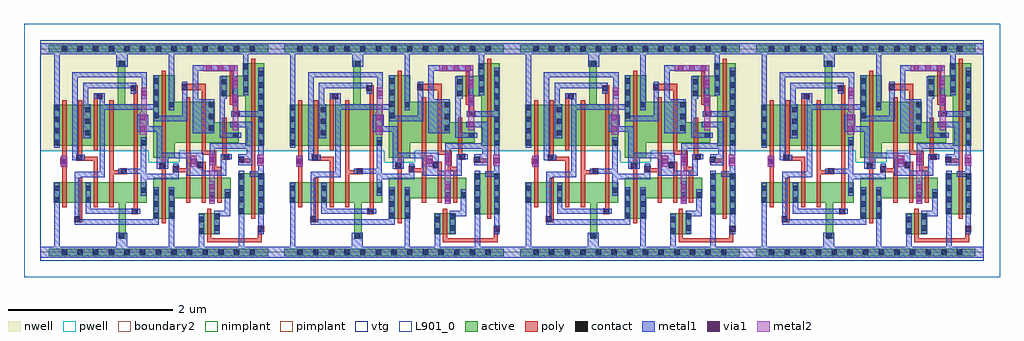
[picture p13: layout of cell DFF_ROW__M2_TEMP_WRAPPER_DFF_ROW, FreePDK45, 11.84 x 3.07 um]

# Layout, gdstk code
import gdstk
lib = gdstk.Library(unit=1e-6, precision=1e-09)
def R(c, l, rs):  # rectangles x0, y0, x1, y1
    for r in rs: c.add(gdstk.rectangle(r[:2], r[2:], *l))
def A(c, l, x, y, w, h, nx, ny, dx, dy):  # array of equal rectangles
    R(c, l, [(x+i*dx, y+j*dy, x+i*dx+w, y+j*dy+h) for i in range(nx) for j in range(ny)])
def P(c, l, *ps):  # polygons
    for p in ps: c.add(gdstk.Polygon(p, *l))
active = (1, 0)
pwell = (2, 0)
nwell = (3, 0)
nimplant = (4, 0)
pimplant = (5, 0)
vtg = (6, 0)
poly = (9, 0)
contact = (10, 0)
metal1 = (11, 0)
via1 = (12, 0)
metal2 = (13, 0)
boundary2 = (239, 0)
L901_0 = (901, 0)

dff_row__dff_row__dff = lib.new_cell('DFF_ROW__DFF_ROW__dff')
A(dff_row__dff_row__dff, active, 0.267, 0.6, 0.05, 0.25, 4, 1, 0.19, 0)
A(dff_row__dff_row__dff, active, 0.317, 0.6, 0.14, 0.25, 3, 1, 0.19, 0)
A(dff_row__dff_row__dff, active, 1.767, 0.657, 0.05, 0.25, 3, 1, 0.19, 0)
A(dff_row__dff_row__dff, active, 0.267, 1.292, 0.05, 0.5, 4, 1, 0.19, 0)
A(dff_row__dff_row__dff, active, 0.317, 1.292, 0.14, 0.5, 3, 1, 0.19, 0)
R(dff_row__dff_row__dff, active, [(0.1,-0.045,2.76,0.045), (1.917,0.222,2.022,0.472), (2.022,0.222,2.072,0.472), (2.072,0.222,2.177,0.472), (1.367,0.407,1.472,0.907), (1.472,0.407,1.522,0.907), (2.402,0.462,2.557,0.962), (2.557,0.462,2.607,0.962), (2.607,0.462,2.712,0.962), (0.162,0.6,0.267,0.85), (1.132,0.6,1.182,0.85), (1.182,0.6,1.287,0.85), (1.817,0.657,1.957,0.907), (2.007,0.657,2.147,0.907), (2.197,0.657,2.307,0.907), (1.367,1.15,1.472,2.15), (1.472,1.15,1.522,2.15), (0.162,1.292,0.267,1.792), (1.132,1.292,1.182,1.792), (1.182,1.292,1.287,1.792), (2.557,1.292,2.607,2.292), (2.607,1.292,2.712,2.292), (1.767,1.327,1.817,1.827), (1.817,1.327,1.957,1.827), (1.957,1.327,2.007,1.827), (2.207,1.327,2.257,1.577), (2.257,1.327,2.407,1.577), (2.192,1.892,2.297,2.142), (2.297,1.892,2.347,2.142), (0.1,2.425,2.76,2.515)])
P(dff_row__dff_row__dff, active, [(0.887,1.292),(0.887,1.792),(0.937,1.792),(0.937,2.322),(1.027,2.322),(1.027,1.792),(1.132,1.792),(1.132,1.292)],
  [(1.522,1.15),(1.522,2.15),(1.627,2.15),(1.627,1.827),(1.767,1.827),(1.767,1.327),(1.627,1.327),(1.627,1.15)],
  [(2.007,1.327),(2.007,1.827),(2.112,1.827),(2.112,1.577),(2.207,1.577),(2.207,1.327)],
  [(2.487,1.292),(2.487,1.892),(2.347,1.892),(2.347,2.142),(2.452,2.142),(2.452,2.292),(2.557,2.292),(2.557,1.292)],
  [(0.947,0.165),(0.947,0.6),(0.887,0.6),(0.887,0.85),(1.132,0.85),(1.132,0.6),(1.037,0.6),(1.037,0.165)],
  [(1.522,0.407),(1.522,0.907),(1.767,0.907),(1.767,0.657),(1.627,0.657),(1.627,0.407)])
P(dff_row__dff_row__dff, pwell, [(0,-0.1),(0,1.235),(1.312,1.235),(1.312,1.095),(1.682,1.095),(1.682,1.235),(2.86,1.235),(2.86,-0.1)])
P(dff_row__dff_row__dff, nwell, [(1.312,1.095),(1.312,1.235),(0,1.235),(0,2.57),(2.86,2.57),(2.86,1.235),(1.682,1.235),(1.682,1.095)])
A(dff_row__dff_row__dff, nimplant, 0.267, 0.6, 0.05, 0.25, 4, 1, 0.19, 0)
A(dff_row__dff_row__dff, nimplant, 0.317, 0.6, 0.14, 0.25, 3, 1, 0.19, 0)
A(dff_row__dff_row__dff, nimplant, 1.767, 0.657, 0.05, 0.25, 3, 1, 0.19, 0)
R(dff_row__dff_row__dff, nimplant, [(1.917,0.222,2.022,0.472), (2.022,0.222,2.072,0.472), (2.072,0.222,2.177,0.472), (1.367,0.407,1.472,0.907), (1.472,0.407,1.522,0.907), (2.402,0.462,2.557,0.962), (2.557,0.462,2.607,0.962), (2.607,0.462,2.712,0.962), (0.162,0.6,0.267,0.85), (1.132,0.6,1.182,0.85), (1.182,0.6,1.287,0.85), (1.817,0.657,1.957,0.907), (2.007,0.657,2.147,0.907), (2.197,0.657,2.307,0.907), (0.1,2.425,2.76,2.515)])
P(dff_row__dff_row__dff, nimplant, [(0.947,0.165),(0.947,0.6),(0.887,0.6),(0.887,0.85),(1.132,0.85),(1.132,0.6),(1.037,0.6),(1.037,0.165)],
  [(1.522,0.407),(1.522,0.907),(1.767,0.907),(1.767,0.657),(1.627,0.657),(1.627,0.407)])
A(dff_row__dff_row__dff, pimplant, 0.267, 1.292, 0.05, 0.5, 4, 1, 0.19, 0)
A(dff_row__dff_row__dff, pimplant, 0.317, 1.292, 0.14, 0.5, 3, 1, 0.19, 0)
R(dff_row__dff_row__dff, pimplant, [(0.1,-0.045,2.76,0.045), (1.367,1.15,1.472,2.15), (1.472,1.15,1.522,2.15), (0.162,1.292,0.267,1.792), (1.132,1.292,1.182,1.792), (1.182,1.292,1.287,1.792), (2.557,1.292,2.607,2.292), (2.607,1.292,2.712,2.292), (1.767,1.327,1.817,1.827), (1.817,1.327,1.957,1.827), (1.957,1.327,2.007,1.827), (2.207,1.327,2.257,1.577), (2.257,1.327,2.407,1.577), (2.192,1.892,2.297,2.142), (2.297,1.892,2.347,2.142)])
P(dff_row__dff_row__dff, pimplant, [(0.887,1.292),(0.887,1.792),(0.937,1.792),(0.937,2.322),(1.027,2.322),(1.027,1.792),(1.132,1.792),(1.132,1.292)],
  [(1.522,1.15),(1.522,2.15),(1.627,2.15),(1.627,1.827),(1.767,1.827),(1.767,1.327),(1.627,1.327),(1.627,1.15)],
  [(2.007,1.327),(2.007,1.827),(2.112,1.827),(2.112,1.577),(2.207,1.577),(2.207,1.327)],
  [(2.487,1.292),(2.487,1.892),(2.347,1.892),(2.347,2.142),(2.452,2.142),(2.452,2.292),(2.557,2.292),(2.557,1.292)])
R(dff_row__dff_row__dff, vtg, [(0,-0.1,2.86,2.57)])
A(dff_row__dff_row__dff, poly, 0.267, 0.6, 0.05, 0.25, 4, 1, 0.19, 0)
A(dff_row__dff_row__dff, poly, 1.767, 0.602, 0.05, 0.055, 3, 1, 0.19, 0)
A(dff_row__dff_row__dff, poly, 1.767, 0.657, 0.05, 0.25, 3, 1, 0.19, 0)
A(dff_row__dff_row__dff, poly, 0.267, 1.292, 0.05, 0.5, 4, 1, 0.19, 0)
R(dff_row__dff_row__dff, poly, [(2.022,0.222,2.072,0.472), (1.472,0.352,1.522,0.407), (1.472,0.407,1.522,0.907), (2.557,0.407,2.607,0.462), (2.557,0.462,2.607,0.962), (2.022,0.472,2.072,0.527), (0.267,0.545,0.317,0.6), (0.647,0.545,0.697,0.6), (0.837,0.545,0.887,0.6), (1.132,0.6,1.182,0.85), (0.457,0.85,0.507,0.905), (1.132,0.85,1.182,1.292), (1.472,1.15,1.522,2.15), (0.647,1.237,0.697,1.292), (1.132,1.292,1.182,1.792), (2.557,1.292,2.607,2.292), (1.767,1.327,1.817,1.827), (1.957,1.327,2.007,1.827), (2.207,1.327,2.257,1.577), (2.207,1.577,2.257,1.632), (0.267,1.792,0.317,1.847), (0.457,1.792,0.507,1.847), (0.837,1.792,0.887,1.847), (1.767,1.827,1.817,1.882), (2.297,1.892,2.347,2.142), (2.297,2.142,2.347,2.197), (1.472,2.15,1.522,2.205), (2.557,2.292,2.607,2.347)])
P(dff_row__dff_row__dff, poly, [(0.267,0.85),(0.267,1.067),(0.242,1.067),(0.242,1.142),(0.267,1.142),(0.267,1.292),(0.317,1.292),(0.317,0.85)],
  [(0.412,0.365),(0.412,0.44),(0.457,0.44),(0.457,0.6),(0.507,0.6),(0.507,0.365)],
  [(0.647,1.792),(0.647,1.932),(0.752,1.932),(0.752,1.857),(0.697,1.857),(0.697,1.792)],
  [(0.647,0.85),(0.647,1.112),(0.432,1.112),(0.432,1.187),(0.457,1.187),(0.457,1.292),(0.507,1.292),(0.507,1.162),(0.697,1.162),(0.697,0.85)],
  [(0.837,0.85),(0.837,1.292),(0.887,1.292),(0.887,0.995),(0.972,0.995),(0.972,1.02),(1.047,1.02),(1.047,0.945),(0.887,0.945),(0.887,0.85)],
  [(1.132,1.792),(1.132,1.952),(1.092,1.952),(1.092,2.027),(1.182,2.027),(1.182,1.792)],
  [(1.107,0.46),(1.107,0.535),(1.132,0.535),(1.132,0.6),(1.182,0.6),(1.182,0.46)],
  [(1.472,0.907),(1.472,1.01),(1.442,1.01),(1.442,1.085),(1.472,1.085),(1.472,1.15),(1.522,1.15),(1.522,0.907)],
  [(1.767,0.907),(1.767,0.972),(1.607,0.972),(1.607,1.047),(1.682,1.047),(1.682,1.022),(1.767,1.022),(1.767,1.327),(1.817,1.327),(1.817,0.907)],
  [(1.957,1.827),(1.957,1.967),(1.712,1.967),(1.712,2.042),(2.007,2.042),(2.007,1.827)],
  [(1.957,0.907),(1.957,1.022),(1.902,1.022),(1.902,1.097),(2.007,1.097),(2.007,0.907)],
  [(2.342,1.642),(2.342,1.792),(2.297,1.792),(2.297,1.892),(2.347,1.892),(2.347,1.842),(2.392,1.842),(2.392,1.717),(2.417,1.717),(2.417,1.642)],
  [(2.207,1.122),(2.207,1.327),(2.257,1.327),(2.257,1.197),(2.292,1.197),(2.292,1.122)],
  [(2.022,0.122),(2.022,0.222),(2.072,0.222),(2.072,0.172),(2.637,0.172),(2.637,0.322),(2.712,0.322),(2.712,0.247),(2.687,0.247),(2.687,0.122)],
  [(2.147,0.907),(2.147,0.987),(2.082,0.987),(2.082,1.182),(1.957,1.182),(1.957,1.327),(2.007,1.327),(2.007,1.232),(2.132,1.232),(2.132,1.037),(2.197,1.037),(2.197,0.907)],
  [(2.557,0.962),(2.557,1.087),(2.397,1.087),(2.397,1.162),(2.472,1.162),(2.472,1.137),(2.557,1.137),(2.557,1.292),(2.607,1.292),(2.607,0.962)])
A(dff_row__dff_row__dff, contact, 0.257, -0.032, 0.065, 0.064, 13, 1, 0.19, 0)
A(dff_row__dff_row__dff, contact, 1.372, 0.412, 0.065, 0.065, 1, 3, 0, 0.14)
A(dff_row__dff_row__dff, contact, 1.557, 0.412, 0.065, 0.065, 1, 3, 0, 0.14)
A(dff_row__dff_row__dff, contact, 2.407, 0.467, 0.065, 0.065, 1, 4, 0, 0.14)
A(dff_row__dff_row__dff, contact, 2.642, 0.467, 0.065, 0.065, 1, 4, 0, 0.14)
A(dff_row__dff_row__dff, contact, 2.642, 1.297, 0.065, 0.065, 1, 7, 0, 0.14)
A(dff_row__dff_row__dff, contact, 0.167, 1.302, 0.065, 0.065, 1, 4, 0, 0.14)
A(dff_row__dff_row__dff, contact, 0.542, 1.417, 0.065, 0.065, 1, 3, 0, 0.14)
A(dff_row__dff_row__dff, contact, 2.042, 1.477, 0.065, 0.065, 1, 3, 0, 0.14)
A(dff_row__dff_row__dff, contact, 1.372, 1.627, 0.065, 0.065, 1, 4, 0, 0.14)
A(dff_row__dff_row__dff, contact, 2.457, 1.942, 0.065, 0.065, 1, 3, 0, 0.14)
A(dff_row__dff_row__dff, contact, 0.257, 2.437, 0.065, 0.065, 13, 1, 0.19, 0)
R(dff_row__dff_row__dff, contact, [(0.952,0.17,1.017,0.235), (1.922,0.227,1.987,0.292), (2.642,0.252,2.707,0.317), (2.107,0.262,2.172,0.327), (1.922,0.367,1.987,0.432), (0.417,0.37,0.482,0.435), (2.107,0.402,2.172,0.467), (1.112,0.465,1.177,0.53), (0.167,0.605,0.232,0.67), (0.547,0.605,0.612,0.67), (2.047,0.662,2.112,0.727), (2.237,0.662,2.302,0.727), (1.217,0.72,1.282,0.785), (0.167,0.745,0.232,0.81), (0.547,0.745,0.612,0.81), (0.977,0.95,1.042,1.015), (1.612,0.977,1.677,1.042), (1.447,1.015,1.512,1.08), (1.907,1.027,1.972,1.092), (0.247,1.072,0.312,1.137), (2.402,1.092,2.467,1.157), (0.437,1.117,0.502,1.182), (2.222,1.127,2.287,1.192), (1.217,1.297,1.282,1.362), (2.337,1.387,2.402,1.452), (2.347,1.647,2.412,1.712), (1.557,1.757,1.622,1.822), (0.682,1.862,0.747,1.927), (2.197,1.897,2.262,1.962), (1.097,1.957,1.162,2.022), (1.717,1.972,1.782,2.037), (2.197,2.037,2.262,2.102), (0.957,2.252,1.022,2.317)])
R(dff_row__dff_row__dff, metal1, [(0,-0.065,2.86,0.065), (2.047,0.587,2.112,0.862), (2.642,0.915,2.707,1.127), (1.777,0.927,1.972,1.207), (0.245,1.037,0.322,1.172), (2.632,1.047,2.71,1.182), (2.327,1.777,2.392,2.127), (0,2.405,2.76,2.535)])
P(dff_row__dff_row__dff, metal1, [(0.167,1.267),(0.167,2.405),(0.1,2.405),(0.1,2.535),(2.86,2.535),(2.86,2.405),(2.522,2.405),(2.522,1.907),(2.457,1.907),(2.457,2.405),(1.622,2.405),(1.622,1.722),(1.557,1.722),(1.557,2.405),(1.057,2.405),(1.057,2.252),(0.922,2.252),(0.922,2.405),(0.232,2.405),(0.232,1.267)],
  [(0.1,-0.065),(0.1,0.065),(0.167,0.065),(0.167,0.845),(0.232,0.845),(0.232,0.065),(0.917,0.065),(0.917,0.235),(1.052,0.235),(1.052,0.065),(1.557,0.065),(1.557,0.792),(1.622,0.792),(1.622,0.065),(1.922,0.065),(1.922,0.467),(1.987,0.467),(1.987,0.065),(2.407,0.065),(2.407,0.987),(2.472,0.987),(2.472,0.065),(2.76,0.065),(2.76,-0.065)],
  [(0.417,0.335),(0.417,0.975),(0.717,0.975),(0.717,1.862),(0.647,1.862),(0.647,1.927),(0.782,1.927),(0.782,1.797),(1.372,1.797),(1.372,2.147),(1.437,2.147),(1.437,1.657),(1.717,1.657),(1.717,2.072),(1.782,2.072),(1.782,1.592),(1.372,1.592),(1.372,1.732),(0.782,1.732),(0.782,0.91),(0.482,0.91),(0.482,0.4),(1.372,0.4),(1.372,0.792),(1.437,0.792),(1.437,0.335)],
  [(1.777,0.927),(1.777,1.142),(1.547,1.142),(1.547,1.015),(1.412,1.015),(1.412,1.462),(1.172,1.462),(1.172,1.667),(1.307,1.667),(1.307,1.527),(1.477,1.527),(1.477,1.207),(1.972,1.207),(1.972,0.992),(2.187,0.992),(2.187,1.192),(2.322,1.192),(2.322,1.127),(2.252,1.127),(2.252,0.927)],
  [(0.387,1.117),(0.387,2.187),(1.292,2.187),(1.292,1.862),(1.227,1.862),(1.227,2.122),(0.452,2.122),(0.452,1.182),(0.537,1.182),(0.537,1.117)],
  [(0.517,1.382),(0.517,2.057),(1.162,2.057),(1.162,1.922),(1.097,1.922),(1.097,1.992),(0.582,1.992),(0.582,1.797),(0.607,1.797),(0.607,1.382)],
  [(0.547,0.465),(0.547,0.845),(0.612,0.845),(0.612,0.53),(1.212,0.53),(1.212,0.465)],
  [(1.217,0.685),(1.217,0.95),(0.942,0.95),(0.942,1.015),(1.217,1.015),(1.217,1.397),(1.282,1.397),(1.282,0.95),(1.612,0.95),(1.612,1.077),(1.677,1.077),(1.677,0.885),(1.282,0.885),(1.282,0.685)],
  [(1.847,1.442),(1.847,2.267),(2.392,2.267),(2.392,2.202),(1.912,2.202),(1.912,1.857),(2.107,1.857),(2.107,1.442)],
  [(2.052,1.057),(2.052,1.322),(2.502,1.322),(2.502,1.517),(2.302,1.517),(2.302,1.582),(2.567,1.582),(2.567,1.057),(2.402,1.057),(2.402,1.192),(2.502,1.192),(2.502,1.257),(2.117,1.257),(2.117,1.057)],
  [(2.172,1.387),(2.172,2.137),(2.262,2.137),(2.262,1.862),(2.237,1.862),(2.237,1.452),(2.437,1.452),(2.437,1.387)],
  [(2.642,0.217),(2.642,0.917),(2.537,0.917),(2.537,0.982),(2.642,0.982),(2.642,1.647),(2.312,1.647),(2.312,1.712),(2.642,1.712),(2.642,2.237),(2.707,2.237),(2.707,0.217)],
  [(2.107,0.227),(2.107,0.502),(2.237,0.502),(2.237,0.762),(2.302,0.762),(2.302,0.437),(2.172,0.437),(2.172,0.227)])
A(dff_row__dff_row__dff, via1, 2.012, 2.202, 0.065, 0.065, 3, 1, 0.14, 0)
R(dff_row__dff_row__dff, via1, [(2.047,0.622,2.112,0.687), (2.047,0.762,2.112,0.827), (0.247,1.072,0.312,1.137), (1.825,1.072,1.89,1.137), (2.64,1.082,2.705,1.147), (2.052,1.092,2.117,1.157), (1.207,1.462,1.272,1.527), (2.337,1.517,2.402,1.582), (1.207,1.602,1.272,1.667), (2.327,1.812,2.392,1.877), (1.227,1.897,1.292,1.962), (2.327,2.027,2.392,2.092)])
R(dff_row__dff_row__dff, metal2, [(2.047,0.587,2.117,1.192), (0.245,1.037,0.322,1.172), (1.82,1.037,1.897,1.172), (2.632,1.047,2.71,1.182)])
P(dff_row__dff_row__dff, metal2, [(1.207,1.427),(1.207,1.702),(1.222,1.702),(1.222,1.997),(1.292,1.997),(1.292,1.427)],
  [(2.322,1.992),(2.322,2.197),(1.977,2.197),(1.977,2.267),(2.392,2.267),(2.392,1.992)],
  [(2.332,1.482),(2.332,1.777),(2.327,1.777),(2.327,1.912),(2.402,1.912),(2.402,1.482)])
R(dff_row__dff_row__dff, boundary2, [(0,0,2.86,2.47)])
dff_row__dff_row__dff.add(gdstk.Label('clk', (1.865,1.15), layer=13, texttype=0))
dff_row__dff_row__dff.add(gdstk.Label('D', (0.295,1.15), layer=13, texttype=0))
dff_row__dff_row__dff.add(gdstk.Label('Q', (2.685,1.1), layer=13, texttype=0))
dff_row__dff_row__dff.add(gdstk.Label('gnd', (1.645,0.042), layer=11, texttype=0))
dff_row__dff_row__dff.add(gdstk.Label('vdd', (2.035,2.532), layer=11, texttype=0))

dff_row__dff_row__dff_ro = lib.new_cell('DFF_ROW__DFF_ROW__DFF_ROW')
dff_row__dff_row__dff_ro.add(gdstk.Reference(dff_row__dff_row__dff, (0,0.1)))
dff_row__dff_row__dff_ro.add(gdstk.Reference(dff_row__dff_row__dff, (2.86,0.1)))
dff_row__dff_row__dff_ro.add(gdstk.Reference(dff_row__dff_row__dff, (5.72,0.1)))
dff_row__dff_row__dff_ro.add(gdstk.Reference(dff_row__dff_row__dff, (8.58,0.1)))

dff_row__m2_temp_wrapper = lib.new_cell('DFF_ROW__M2_TEMP_WRAPPER_DFF_ROW')
R(dff_row__m2_temp_wrapper, L901_0, [(-0.2,-0.2,11.64,2.87)])
dff_row__m2_temp_wrapper.add(gdstk.Reference(dff_row__dff_row__dff_ro, (0,0)))
dff_row__m2_temp_wrapper.add(gdstk.Label('TEMP_WRAPPER_FOR_M2_REVIEW', (0,3.17), layer=900, texttype=0))
dff_row__m2_temp_wrapper.add(gdstk.Label('DFF_ROW candidate composite', (0,3.77), layer=900, texttype=0))

lib.write_gds('DFF_ROW__M2_TEMP_WRAPPER_DFF_ROW.gds')
